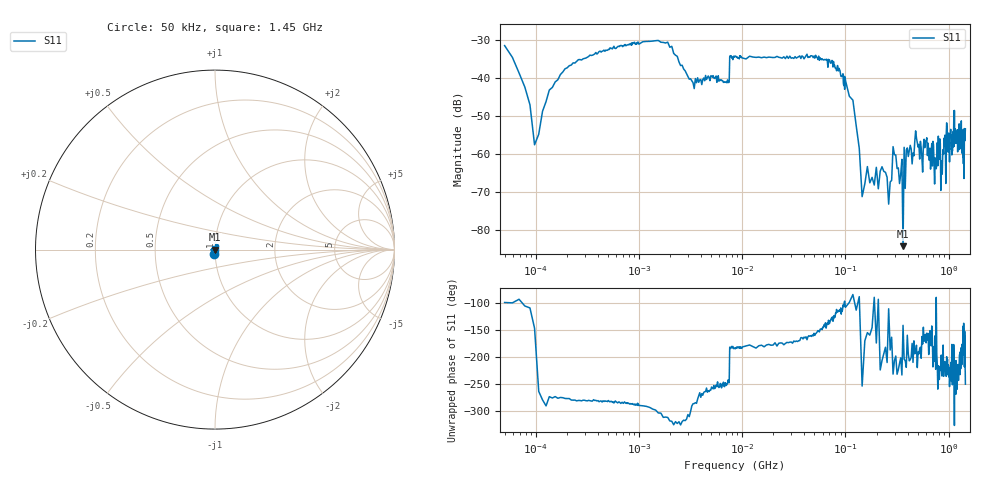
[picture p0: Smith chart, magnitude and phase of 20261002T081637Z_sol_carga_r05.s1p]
! prueba_sol / sol_carga / r05
# HZ S RI R 50
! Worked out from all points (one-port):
!   501 points, 50 kHz to 1.45 GHz, reference 50 ohm
!   lowest |S11| = -84.3 dB at 361 MHz (marker M1), VSWR 1.00, Z = 50 - j0.0038 ohm
!   |S11| at or under -10 dB: start of sweep to end of sweep
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50000  -0.00444 -0.0262
107000  -0.000212 0.0018
183000  0.00102 0.0119
658000  0.0065 0.0257
1720000  0.0192 0.022
2440000  0.0123 0.0106
3250000  0.00314 0.00861
6940000  -0.00276 0.00842
8560000  -0.019 0.00161
3.16e7  -0.0178 -0.00296
7.48e7  -0.00987 -0.0136
1.18e8  0.000451 -0.00508
1.63e8  -0.000618 -0.000287
2.62e8  -7.9e-05 -0.000204
3.07e8  -0.00092 0.000302
3.61e8  -4.8e-05 -3.8e-05
4.06e8  -0.000895 0.000235
5.95e8  -0.00136 -0.000541
7.39e8  -0.000837 -0.000292
8.11e8  -0.000454 0.000831
8.56e8  -0.000443 0.000626
9.64e8  -0.00184 0.00115
1.0765e9  -0.000868 0.00108
1.126e9  -0.00156 0.0009
1.2295e9  -0.00139 0.000997
1.315e9  -0.00219 0.000141
1.396e9  -0.00107 -0.000967
1.45e9  -0.000726 0.002
